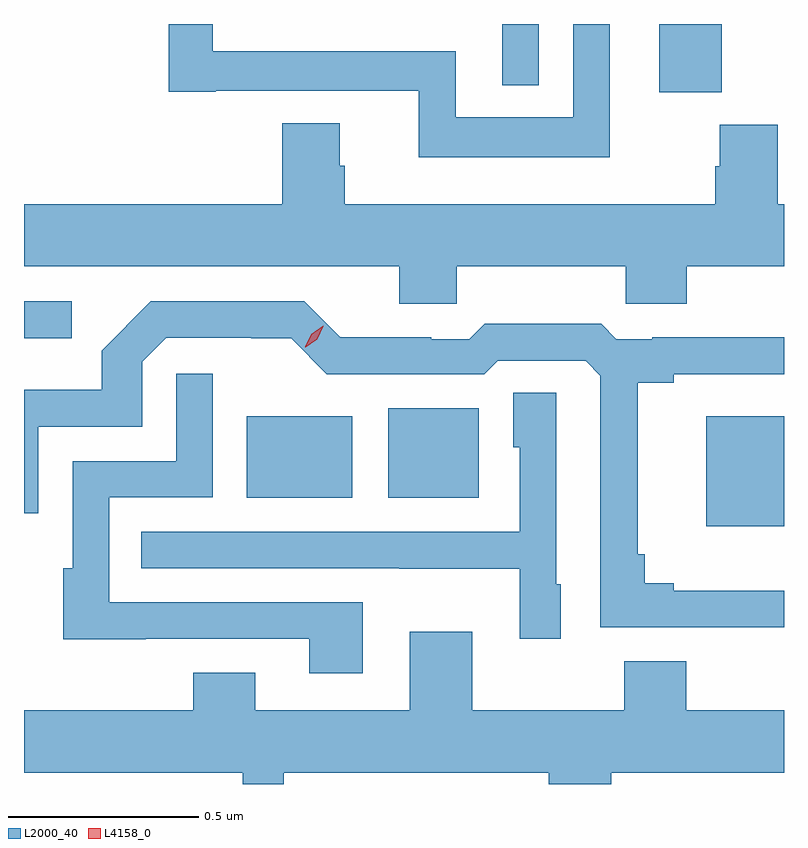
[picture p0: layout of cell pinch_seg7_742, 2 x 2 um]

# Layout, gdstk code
import gdstk
lib = gdstk.Library(unit=1e-6, precision=1e-09)
def R(c, l, rs):  # rectangles x0, y0, x1, y1
    for r in rs: c.add(gdstk.rectangle(r[:2], r[2:], *l))
def P(c, l, *ps):  # polygons
    for p in ps: c.add(gdstk.Polygon(p, *l))
L2000_40 = (2000, 40)
L4158_0 = (4158, 0)

pinch_seg7_742 = lib.new_cell('pinch_seg7_742')
R(pinch_seg7_742, L2000_40, [(256.259,1030.568,256.464,1030.858), (255.05,1030.643,255.328,1030.858), (255.422,1030.643,255.661,1030.879), (254.464,1031.063,254.59,1031.16), (256.136,1031.71,256.3,1031.89), (255.723,1031.729,255.819,1031.89)])
P(pinch_seg7_742, L2000_40, [(256.006,1031.89),(255.909,1031.89),(255.909,1031.644),(255.6,1031.644),(255.6,1031.818),(254.961,1031.818),(254.961,1031.89),(254.845,1031.89),(254.845,1031.712),(254.968,1031.712),(254.968,1031.714),(255.503,1031.714),(255.503,1031.54),(256.006,1031.54)],
  [(255.603,1031.252),(256.048,1031.252),(256.048,1031.154),(256.208,1031.154),(256.208,1031.252),(256.464,1031.252),(256.464,1031.416),(256.448,1031.416),(256.448,1031.625),(256.295,1031.625),(256.295,1031.516),(256.283,1031.516),(256.283,1031.416),(255.308,1031.416),(255.308,1031.517),(255.295,1031.517),(255.295,1031.629),(255.143,1031.629),(255.143,1031.416),(254.464,1031.416),(254.464,1031.252),(255.452,1031.252),(255.452,1031.154),(255.603,1031.154)],
  [(256.464,1030.399),(256.174,1030.399),(256.174,1030.418),(256.097,1030.418),(256.097,1030.495),(256.079,1030.495),(256.079,1030.946),(256.174,1030.946),(256.174,1030.968),(256.464,1030.968),(256.464,1031.066),(256.117,1031.066),(256.117,1031.061),(256.023,1031.061),(255.983,1031.101),(255.676,1031.101),(255.636,1031.061),(255.536,1031.061),(255.536,1031.066),(255.296,1031.066),(255.201,1031.16),(254.798,1031.16),(254.668,1031.03),(254.668,1030.927),(254.464,1030.927),(254.464,1030.602),(254.502,1030.602),(254.502,1030.83),(254.775,1030.83),(254.775,1031.001),(254.838,1031.064),(255.062,1031.064),(255.062,1031.063),(255.167,1031.063),(255.261,1030.968),(255.675,1030.968),(255.711,1031.004),(255.942,1031.004),(255.981,1030.965),(255.981,1030.302),(256.464,1030.302)],
  [(255.355,1030.368),(254.688,1030.368),(254.688,1030.644),(254.961,1030.644),(254.961,1030.969),(254.865,1030.969),(254.865,1030.74),(254.592,1030.74),(254.592,1030.458),(254.567,1030.458),(254.567,1030.271),(254.785,1030.271),(254.785,1030.272),(255.215,1030.272),(255.215,1030.182),(255.355,1030.182)],
  [(255.877,1030.416),(255.864,1030.416),(255.864,1030.919),(255.752,1030.919),(255.752,1030.776),(255.768,1030.776),(255.768,1030.554),(254.773,1030.554),(254.773,1030.458),(255.451,1030.458),(255.451,1030.457),(255.768,1030.457),(255.768,1030.272),(255.877,1030.272)],
  [(255.845,1029.89),(256.01,1029.89),(256.01,1029.92),(256.464,1029.92),(256.464,1030.084),(256.207,1030.084),(256.207,1030.213),(256.043,1030.213),(256.043,1030.084),(255.643,1030.084),(255.643,1030.291),(255.479,1030.291),(255.479,1030.084),(255.073,1030.084),(255.073,1030.183),(254.909,1030.183),(254.909,1030.084),(254.464,1030.084),(254.464,1029.92),(255.039,1029.92),(255.039,1029.89),(255.148,1029.89),(255.148,1029.92),(255.845,1029.92)])
P(pinch_seg7_742, L4158_0, [(255.204,1031.04),(255.204,1031.041),(255.22,1031.074),(255.251,1031.096),(255.252,1031.096),(255.252,1031.095),(255.236,1031.061),(255.205,1031.04)])

lib.write_gds('pinch_seg7_742.gds')
